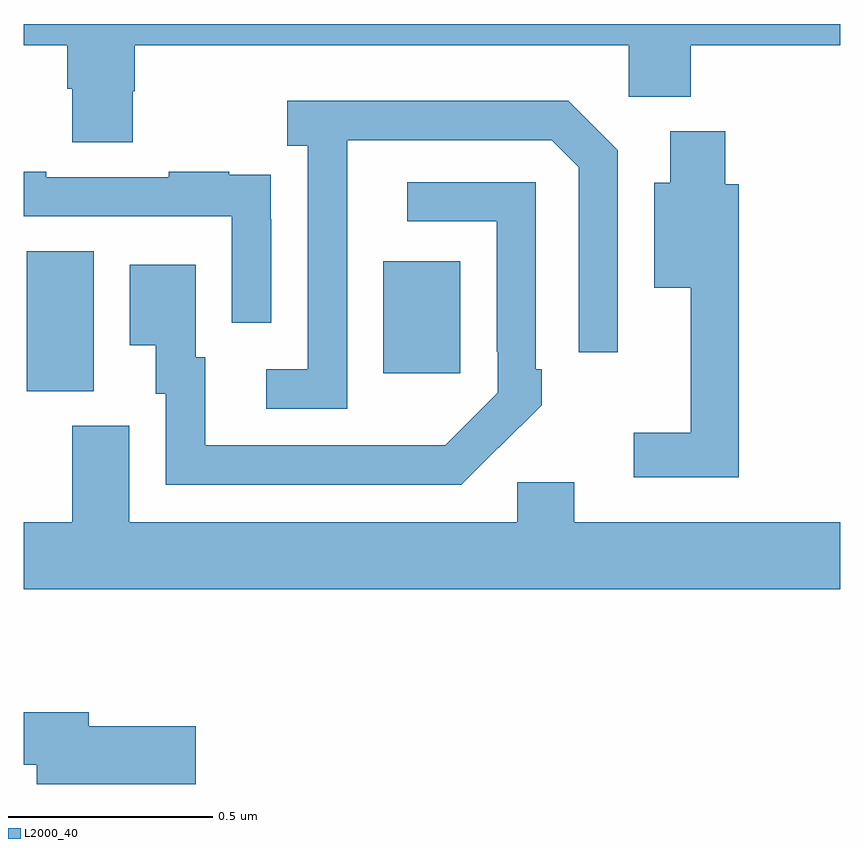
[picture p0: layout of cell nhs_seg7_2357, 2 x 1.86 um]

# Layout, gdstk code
import gdstk
lib = gdstk.Library(unit=1e-6, precision=1e-09)
def R(c, l, rs):  # rectangles x0, y0, x1, y1
    for r in rs: c.add(gdstk.rectangle(r[:2], r[2:], *l))
def P(c, l, *ps):  # polygons
    for p in ps: c.add(gdstk.Polygon(p, *l))
L2000_40 = (2000, 40)

nhs_seg7_2357 = lib.new_cell('nhs_seg7_2357')
R(nhs_seg7_2357, L2000_40, [(144.008,1001.101,144.172,1001.444), (144.881,1001.145,145.069,1001.419)])
P(nhs_seg7_2357, L2000_40, [(144,1001.948),(144.107,1001.948),(144.107,1001.842),(144.119,1001.842),(144.119,1001.71),(144.267,1001.71),(144.267,1001.835),(144.272,1001.835),(144.272,1001.948),(145.482,1001.948),(145.482,1001.822),(145.634,1001.822),(145.634,1001.948),(146,1001.948),(146,1002),(144,1002)],
  [(144.792,1001.515),(144.793,1001.515),(144.793,1001.715),(145.293,1001.715),(145.359,1001.649),(145.359,1001.196),(145.455,1001.196),(145.455,1001.691),(145.334,1001.812),(144.645,1001.812),(144.645,1001.702),(144.696,1001.702),(144.696,1001.154),(144.594,1001.154),(144.594,1001.058),(144.792,1001.058)],
  [(145.751,1001.607),(145.718,1001.607),(145.718,1001.737),(145.583,1001.737),(145.583,1001.611),(145.544,1001.611),(145.544,1001.354),(145.634,1001.354),(145.634,1000.999),(145.494,1000.999),(145.494,1000.89),(145.751,1000.89)],
  [(144.606,1001.522),(144.605,1001.522),(144.605,1001.631),(144.503,1001.631),(144.503,1001.638),(144.355,1001.638),(144.355,1001.625),(144.055,1001.625),(144.055,1001.638),(144,1001.638),(144,1001.529),(144.51,1001.529),(144.51,1001.268),(144.606,1001.268)],
  [(145.163,1000.963),(145.164,1000.962),(145.269,1001.067),(145.269,1001.155),(145.254,1001.155),(145.254,1001.613),(144.939,1001.613),(144.939,1001.517),(145.158,1001.517),(145.158,1001.197),(145.161,1001.197),(145.161,1001.097),(145.033,1000.969),(144.929,1000.969),(144.929,1000.968),(144.445,1000.968),(144.445,1001.184),(144.421,1001.184),(144.421,1001.41),(144.26,1001.41),(144.26,1001.213),(144.323,1001.213),(144.323,1001.094),(144.348,1001.094),(144.348,1000.872),(145.072,1000.872)],
  [(146,1000.78),(145.348,1000.78),(145.348,1000.878),(145.209,1000.878),(145.209,1000.78),(144.259,1000.78),(144.259,1001.016),(144.119,1001.016),(144.119,1000.78),(144,1000.78),(144,1000.616),(146,1000.616)],
  [(144.421,1000.281),(144.16,1000.281),(144.16,1000.315),(144,1000.315),(144,1000.186),(144.032,1000.186),(144.032,1000.139),(144.421,1000.139)])

lib.write_gds('nhs_seg7_2357.gds')
